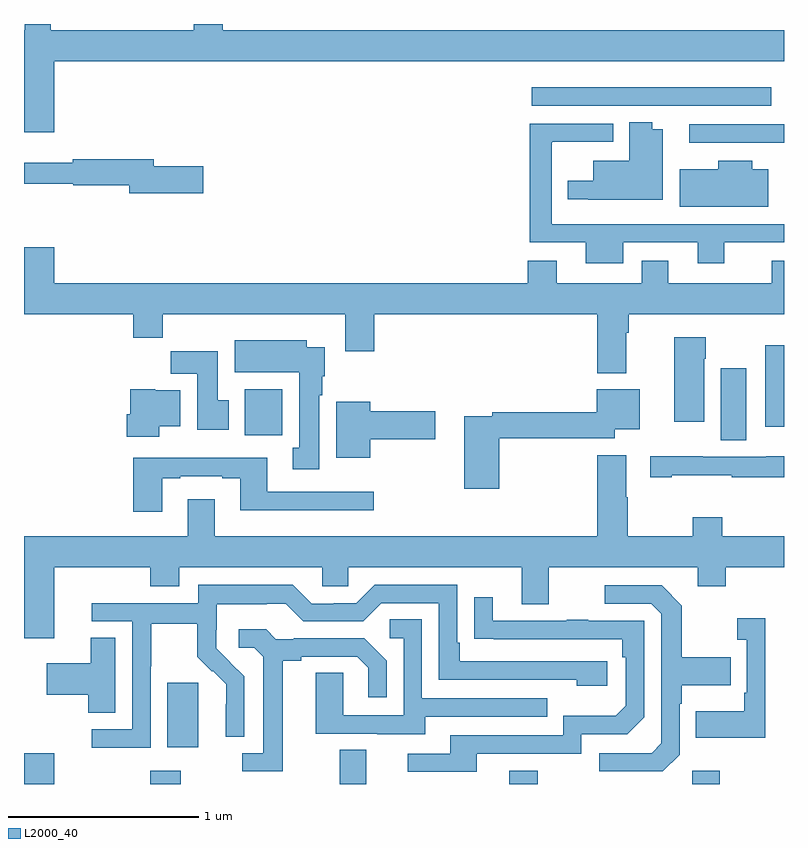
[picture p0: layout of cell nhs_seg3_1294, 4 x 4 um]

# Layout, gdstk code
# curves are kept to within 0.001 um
import gdstk
lib = gdstk.Library(unit=1e-6, precision=1e-09)
def R(c, l, rs):  # rectangles x0, y0, x1, y1
    for r in rs: c.add(gdstk.rectangle(r[:2], r[2:], *l))
def P(c, l, *ps):  # polygons
    for p in ps: c.add(gdstk.Polygon(p, *l))
L2000_40 = (2000, 40)

nhs_seg3_1294 = lib.new_cell('nhs_seg3_1294')
R(nhs_seg3_1294, L2000_40, [(177,742.4,177.16,742.561), (177.665,742.4,177.825,742.471), (178.661,742.4,178.801,742.58), (179.555,742.4,179.703,742.471), (180.516,742.4,180.663,742.471), (177.755,742.593,177.916,742.933), (180.668,744.208,180.802,744.589), (178.163,744.236,178.36,744.478), (180.902,744.279,181,744.709), (179.673,745.971,180.934,746.068)])
P(nhs_seg3_1294, L2000_40, [(177.16,746.204),(181,746.204),(181,746.368),(178.046,746.368),(178.046,746.4),(177.893,746.4),(177.893,746.368),(177.141,746.368),(177.141,746.4),(177.003,746.4),(177.003,746.368),(177,746.368),(177,745.83),(177.16,745.83)],
  [(180.361,745.846),(180.307,745.846),(180.307,745.882),(180.185,745.882),(180.185,745.681),(179.996,745.681),(179.996,745.574),(179.863,745.574),(179.863,745.477),(179.971,745.477),(179.971,745.475),(180.361,745.475)],
  [(180.154,745.251),(180.545,745.251),(180.545,745.142),(180.685,745.142),(180.685,745.251),(181,745.251),(181,745.347),(179.778,745.347),(179.778,745.778),(179.78,745.778),(179.78,745.779),(180.1,745.779),(180.1,745.875),(179.662,745.875),(179.662,745.251),(179.957,745.251),(179.957,745.142),(180.154,745.142)],
  [(181,745.872),(180.501,745.872),(180.501,745.776),(180.916,745.776),(180.916,745.775),(181,745.775)],
  [(177.943,745.652),(177.682,745.652),(177.682,745.688),(177.256,745.688),(177.256,745.669),(177,745.669),(177,745.56),(177.258,745.56),(177.258,745.552),(177.554,745.552),(177.554,745.51),(177.943,745.51)],
  [(180.916,745.636),(180.833,745.636),(180.833,745.681),(180.655,745.681),(180.655,745.636),(180.452,745.636),(180.452,745.439),(180.916,745.439)],
  [(179.803,745.153),(179.651,745.153),(179.651,745.036),(177.16,745.036),(177.16,745.225),(177,745.225),(177,744.872),(177.575,744.872),(177.575,744.748),(177.731,744.748),(177.731,744.872),(178.691,744.872),(178.691,744.678),(178.844,744.678),(178.844,744.872),(180.017,744.872),(180.017,744.563),(180.169,744.563),(180.169,744.776),(180.182,744.776),(180.182,744.872),(181,744.872),(181,745.153),(180.935,745.153),(180.935,745.036),(180.391,745.036),(180.391,745.153),(180.251,745.153),(180.251,745.036),(179.803,745.036)],
  [(180.58,744.638),(180.588,744.638),(180.588,744.751),(180.422,744.751),(180.422,744.306),(180.58,744.306)],
  [(178.555,744.446),(178.57,744.446),(178.57,744.546),(178.582,744.546),(178.582,744.7),(178.489,744.7),(178.489,744.736),(178.109,744.736),(178.109,744.566),(178.448,744.566),(178.448,744.17),(178.415,744.17),(178.415,744.057),(178.555,744.057)],
  [(178.078,744.42),(178.021,744.42),(178.021,744.678),(177.772,744.678),(177.772,744.56),(177.911,744.56),(177.911,744.264),(178.078,744.264)],
  [(179.501,744.22),(180.108,744.22),(180.108,744.266),(180.241,744.266),(180.241,744.478),(180.014,744.478),(180.014,744.356),(179.464,744.356),(179.464,744.336),(179.318,744.336),(179.318,743.955),(179.501,743.955)],
  [(177.712,744.284),(177.823,744.284),(177.823,744.472),(177.69,744.472),(177.69,744.478),(177.56,744.478),(177.56,744.345),(177.542,744.345),(177.542,744.227),(177.712,744.227)],
  [(178.822,744.215),(179.164,744.215),(179.164,744.362),(178.822,744.362),(178.822,744.412),(178.643,744.412),(178.643,744.116),(178.822,744.116)],
  [(177.16,743.54),(177.665,743.54),(177.665,743.441),(177.817,743.441),(177.817,743.54),(178.569,743.54),(178.569,743.442),(178.707,743.442),(178.707,743.54),(179.621,743.54),(179.621,743.346),(179.761,743.346),(179.761,743.54),(180.545,743.54),(180.545,743.441),(180.693,743.441),(180.693,743.54),(181,743.54),(181,743.704),(180.675,743.704),(180.675,743.803),(180.52,743.803),(180.52,743.704),(180.177,743.704),(180.177,743.909),(180.169,743.909),(180.169,744.13),(180.017,744.13),(180.017,743.704),(178.003,743.704),(178.003,743.899),(177.863,743.899),(177.863,743.704),(177,743.704),(177,743.166),(177.16,743.166)],
  [(180.409,744.025),(180.725,744.025),(180.725,744.015),(181,744.015),(181,744.124),(180.906,744.124),(180.906,744.123),(180.572,744.123),(180.572,744.125),(180.297,744.125),(180.297,744.015),(180.409,744.015)],
  [(177.727,744.009),(177.823,744.009),(177.823,744.021),(178.043,744.021),(178.043,744.009),(178.139,744.009),(178.139,743.84),(178.84,743.84),(178.84,743.937),(178.279,743.937),(178.279,744.118),(177.575,744.118),(177.575,743.832),(177.727,743.832)],
  [(177.666,743.02),(177.669,743.02),(177.669,743.244),(177.913,743.244),(177.913,743.069),(177.99,742.992),(177.993,742.995),(178.064,742.925),(178.064,742.82),(178.061,742.82),(178.061,742.648),(178.158,742.648),(178.158,742.966),(178.012,743.114),(178.012,743.211),(178.014,743.211),(178.014,743.345),(178.277,743.345),(178.277,743.349),(178.377,743.349),(178.47,743.256),(178.785,743.256),(178.881,743.352),(179.184,743.352),(179.184,742.95),(179.909,742.95),(179.909,742.916),(180.07,742.916),(180.07,743.046),(179.293,743.046),(179.293,743.143),(179.28,743.143),(179.28,743.448),(178.845,743.448),(178.749,743.352),(178.631,743.352),(178.631,743.349),(178.515,743.349),(178.415,743.449),(177.918,743.449),(177.918,743.352),(177.357,743.352),(177.357,743.256),(177.57,743.256),(177.57,742.689),(177.357,742.689),(177.357,742.591),(177.666,742.591)],
  [(180.45,742.554),(180.45,742.823),(180.463,742.823),(180.463,742.919),(180.719,742.919),(180.719,743.067),(180.463,743.067),(180.463,743.339),(180.357,743.445),(180.057,743.445),(180.057,743.349),(180.3,743.349),(180.354,743.295),(180.354,742.614),(180.303,742.563),(180.027,742.563),(180.027,742.467),(180.363,742.467)],
  [(179.383,742.56),(179.934,742.56),(179.934,742.662),(180.174,742.662),(180.264,742.752),(180.264,743.259),(179.969,743.259),(179.969,743.264),(179.857,743.264),(179.857,743.259),(179.467,743.259),(179.467,743.383),(179.371,743.383),(179.371,743.164),(180.148,743.163),(180.148,743.066),(180.168,743.066),(180.168,742.812),(180.115,742.759),(179.838,742.759),(179.838,742.656),(179.243,742.656),(179.243,742.56),(179.019,742.56),(179.019,742.464),(179.383,742.464)],
  [(180.902,743.272),(180.753,743.272),(180.753,743.159),(180.804,743.159),(180.804,742.879),(180.792,742.879),(180.792,742.783),(180.535,742.783),(180.535,742.643),(180.902,742.643)],
  [(179.113,742.755),(179.753,742.755),(179.753,742.851),(179.094,742.851),(179.094,743.267),(178.926,743.267),(178.926,743.166),(178.998,743.166),(178.998,742.761),(178.68,742.761),(178.68,742.985),(178.535,742.985),(178.535,742.665),(178.859,742.665),(178.859,742.661),(179.113,742.661)],
  [(178.363,743.048),(178.459,743.048),(178.459,743.07),(178.754,743.07),(178.811,743.013),(178.811,742.857),(178.908,742.857),(178.908,743.05),(178.792,743.166),(178.42,743.166),(178.42,743.163),(178.326,743.163),(178.274,743.215),(178.131,743.215),(178.131,743.118),(178.212,743.118),(178.259,743.071),(178.259,742.563),(178.149,742.563),(178.149,742.467),(178.363,742.467)],
  [(177.481,743.171),(177.35,743.171),(177.35,743.035),(177.12,743.035),(177.12,742.87),(177.338,742.87),(177.338,742.774),(177.481,742.774)])

lib.write_gds('nhs_seg3_1294.gds')
